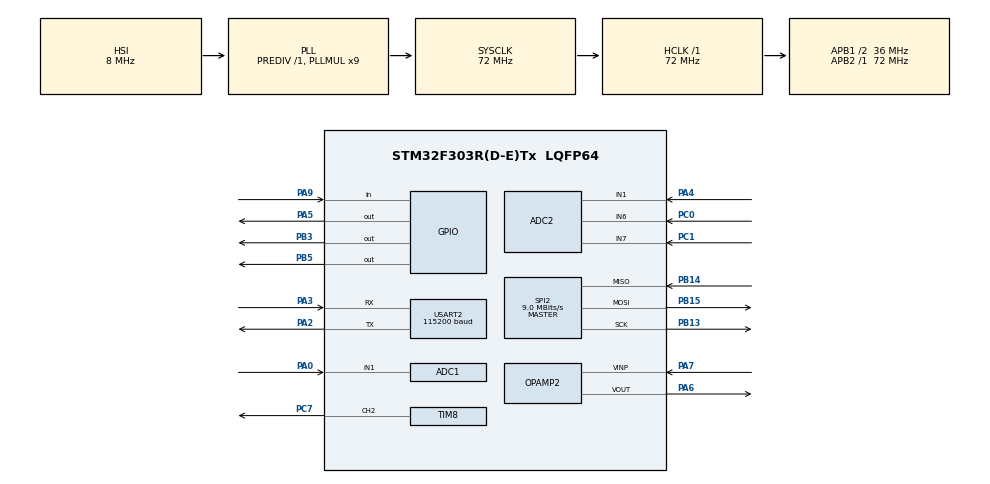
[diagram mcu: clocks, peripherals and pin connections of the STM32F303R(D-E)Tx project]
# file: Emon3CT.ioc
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ADC1.Channel-8\#ChannelRegularConversion=ADC_CHANNEL_1
ADC1.ClockPrescaler=ADC_CLOCK_SYNC_PCLK_DIV2
ADC1.ContinuousConvMode=ENABLE
ADC1.DMAContinuousRequests=ENABLE
ADC1.DataAlign=ADC_DATAALIGN_RIGHT
ADC1.DiscontinuousConvMode=DISABLE
ADC1.EOCSelection=ADC_EOC_SEQ_CONV
ADC1.EnableAnalogWatchDog1=false
ADC1.EnableAnalogWatchDog2=false
ADC1.EnableAnalogWatchDog3=false
ADC1.EnableInjectedConversion=ENABLE
ADC1.EnableRegularConversion=ENABLE
ADC1.ExternalTrigConv=ADC_EXTERNALTRIGCONV_T8_TRGO2
ADC1.ExternalTrigConvEdge=ADC_EXTERNALTRIGCONVEDGE_RISING
ADC1.InjNumberOfConversion=0
ADC1.LowPowerAutoWait=DISABLE
ADC1.NbrOfConversion=1
ADC1.NbrOfConversionFlag=1
ADC1.Offset-8\#ChannelRegularConversion=0
ADC1.OffsetNumber-8\#ChannelRegularConversion=ADC_OFFSET_NONE
ADC1.Overrun=ADC_OVR_DATA_OVERWRITTEN
ADC1.Rank-8\#ChannelRegularConversion=1
ADC1.Resolution=ADC_RESOLUTION_12B
ADC1.SamplingTime-8\#ChannelRegularConversion=ADC_SAMPLETIME_601CYCLES_5
ADC1.ScanConvMode=ADC_SCAN_DISABLE
ADC1.master=1
ADC2.Channel-0\#ChannelRegularConversion=ADC_CHANNEL_1
ADC2.Channel-1\#ChannelRegularConversion=ADC_CHANNEL_6
ADC2.Channel-2\#ChannelRegularConversion=ADC_CHANNEL_7
ADC2.ClockPrescaler=ADC_CLOCK_SYNC_PCLK_DIV2
ADC2.ContinuousConvMode=ENABLE
ADC2.DMAContinuousRequests=ENABLE
ADC2.EOCSelection=ADC_EOC_SEQ_CONV
ADC2.ExternalTrigConv=ADC_EXTERNALTRIGCONV_T8_TRGO2
ADC2.NbrOfConversion=3
ADC2.NbrOfConversionFlag=1
ADC2.Offset-0\#ChannelRegularConversion=0
ADC2.Offset-1\#ChannelRegularConversion=0
ADC2.Offset-2\#ChannelRegularConversion=0
ADC2.OffsetNumber-0\#ChannelRegularConversion=ADC_OFFSET_NONE
ADC2.OffsetNumber-1\#ChannelRegularConversion=ADC_OFFSET_NONE
ADC2.OffsetNumber-2\#ChannelRegularConversion=ADC_OFFSET_NONE
ADC2.Rank-0\#ChannelRegularConversion=1
ADC2.Rank-1\#ChannelRegularConversion=2
ADC2.Rank-2\#ChannelRegularConversion=3
ADC2.SamplingTime-0\#ChannelRegularConversion=ADC_SAMPLETIME_601CYCLES_5
ADC2.SamplingTime-1\#ChannelRegularConversion=ADC_SAMPLETIME_601CYCLES_5
ADC2.SamplingTime-2\#ChannelRegularConversion=ADC_SAMPLETIME_601CYCLES_5
Dma.ADC1.0.Direction=DMA_PERIPH_TO_MEMORY
Dma.ADC1.0.Instance=DMA1_Channel1
Dma.ADC1.0.MemDataAlignment=DMA_MDATAALIGN_HALFWORD
Dma.ADC1.0.MemInc=DMA_MINC_ENABLE
Dma.ADC1.0.Mode=DMA_CIRCULAR
Dma.ADC1.0.PeriphDataAlignment=DMA_PDATAALIGN_HALFWORD
Dma.ADC1.0.PeriphInc=DMA_PINC_DISABLE
Dma.ADC1.0.Priority=DMA_PRIORITY_HIGH
Dma.ADC2.1.Direction=DMA_PERIPH_TO_MEMORY
Dma.ADC2.1.Instance=DMA2_Channel1
Dma.ADC2.1.MemDataAlignment=DMA_MDATAALIGN_HALFWORD
Dma.ADC2.1.MemInc=DMA_MINC_ENABLE
Dma.ADC2.1.Mode=DMA_CIRCULAR
Dma.ADC2.1.PeriphDataAlignment=DMA_PDATAALIGN_HALFWORD
Dma.ADC2.1.PeriphInc=DMA_PINC_DISABLE
Dma.ADC2.1.Priority=DMA_PRIORITY_HIGH
Dma.Request0=ADC1
Dma.Request1=ADC2
Mcu.Family=STM32F3
Mcu.Name=STM32F303R(D-E)Tx
Mcu.Package=LQFP64
NVIC.DMA1_Channel1_IRQn=true\:1\:0\:true\:false\:true\:false
NVIC.DMA2_Channel1_IRQn=true\:1\:0\:true\:false\:true\:false
NVIC.PriorityGroup=NVIC_PRIORITYGROUP_4
PA0.Mode=IN1-Single-Ended
PA0.Signal=ADC1_IN1
PA2.Mode=Asynchronous
PA2.Signal=USART2_TX
PA3.Mode=Asynchronous
PA3.Signal=USART2_RX
PA4.Mode=IN1-Single-Ended
PA4.Signal=ADC2_IN1
PA5.Signal=GPIO_Output
PA6.Mode=Follower
PA6.Signal=OPAMP2_VOUT
PA7.Mode=Follower
PA7.Signal=OPAMP2_VINP
PA9.Signal=GPIO_Input
PB13.Mode=Full_Duplex_Master
PB13.Signal=SPI2_SCK
PB14.Mode=Full_Duplex_Master
PB14.Signal=SPI2_MISO
PB15.Mode=Full_Duplex_Master
PB15.Signal=SPI2_MOSI
PB3.Signal=GPIO_Output
PB5.Signal=GPIO_Output
PC0.Signal=ADCx_IN6
PC1.Signal=ADCx_IN7
PC7.Signal=S_TIM8_CH2
ProjectManager.HeapSize=0x200
ProjectManager.StackSize=0x400
ProjectManager.TargetToolchain=Makefile
RCC.AHBFreq_Value=72000000
RCC.APB1CLKDivider=RCC_HCLK_DIV2
RCC.APB1Freq_Value=36000000
RCC.APB1TimFreq_Value=72000000
RCC.APB2Freq_Value=72000000
RCC.APB2TimFreq_Value=72000000
RCC.CortexFreq_Value=72000000
RCC.HCLKFreq_Value=72000000
RCC.HSE_VALUE=8000000
RCC.HSI_VALUE=8000000
RCC.LSE_VALUE=32768
RCC.PLLMUL=RCC_PLL_MUL9
RCC.SYSCLKFreq_VALUE=72000000
RCC.SYSCLKSourceVirtual=RCC_SYSCLKSOURCE_PLLCLK
RCC.USBFreq_Value=72000000
SH.ADCx_IN6.0=ADC2_IN6,IN6-Single-Ended
SH.ADCx_IN7.0=ADC2_IN7,IN7-Single-Ended
SH.S_TIM8_CH2.0=TIM8_CH2,PWM Generation2 CH2
SPI2.BaudRatePrescaler=SPI_BAUDRATEPRESCALER_4
SPI2.CalculateBaudRate=9.0 MBits/s
SPI2.DataSize=SPI_DATASIZE_8BIT
SPI2.Direction=SPI_DIRECTION_2LINES
SPI2.Mode=SPI_MODE_MASTER
SPI2.VirtualType=VM_MASTER
TIM8.Channel-PWM\ Generation2\ CH2=TIM_CHANNEL_2
TIM8.Period=9999
TIM8.Prescaler=71
TIM8.TIM_MasterOutputTrigger2=TIM_TRGO2_OC2REF
USART2.BaudRate=115200
USART2.VirtualMode-Asynchronous=VM_ASYNC
USART2.WordLength=WORDLENGTH_8B
board=Emon3CT

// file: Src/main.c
/**
  ******************************************************************************
  * @file           : main.c
  * @brief          : Main program body
  ******************************************************************************
  ** This notice applies to any and all portions of this file
  * that are not between comment pairs USER CODE BEGIN and
  * USER CODE END. Other portions of this file, whether
  * inserted by the user or by software development tools
  * are owned by their respective copyright owners.
  *
  * COPYRIGHT(c) 2019 STMicroelectronics
  *
  * Redistribution and use in source and binary forms, with or without modification,
  * are permitted provided that the following conditions are met:
  *   1. Redistributions of source code must retain the above copyright notice,
  *      this list of conditions and the following disclaimer.
  *   2. Redistributions in binary form must reproduce the above copyright notice,
  *      this list of conditions and the following disclaimer in the documentation
  *      and/or other materials provided with the distribution.
  *   3. Neither the name of STMicroelectronics nor the names of its contributors
  *      may be used to endorse or promote products derived from this software
  *      without specific prior written permission.
  *
  * THIS SOFTWARE IS PROVIDED BY THE COPYRIGHT HOLDERS AND CONTRIBUTORS "AS IS"
  * AND ANY EXPRESS OR IMPLIED WARRANTIES, INCLUDING, BUT NOT LIMITED TO, THE
  * IMPLIED WARRANTIES OF MERCHANTABILITY AND FITNESS FOR A PARTICULAR PURPOSE ARE
  * DISCLAIMED. IN NO EVENT SHALL THE COPYRIGHT HOLDER OR CONTRIBUTORS BE LIABLE
  * FOR ANY DIRECT, INDIRECT, INCIDENTAL, SPECIAL, EXEMPLARY, OR CONSEQUENTIAL
  * DAMAGES (INCLUDING, BUT NOT LIMITED TO, PROCUREMENT OF SUBSTITUTE GOODS OR
  * SERVICES; LOSS OF USE, DATA, OR PROFITS; OR BUSINESS INTERRUPTION) HOWEVER
  * CAUSED AND ON ANY THEORY OF LIABILITY, WHETHER IN CONTRACT, STRICT LIABILITY,
  * OR TORT (INCLUDING NEGLIGENCE OR OTHERWISE) ARISING IN ANY WAY OUT OF THE USE
  * OF THIS SOFTWARE, EVEN IF ADVISED OF THE POSSIBILITY OF SUCH DAMAGE.
  *
  ******************************************************************************
  */
#include "main.h"
#include "stm32f3xx_hal.h"
#include "adc.h"
#include "dma.h"
#include "opamp.h"
#include "spi.h"
#include "tim.h"
#include "usart.h"
#include "gpio.h"

/* USER CODE BEGIN Includes */
#include <string.h>
#include <math.h>
#include "RFM69.h"
#include "RFM69_ext.h"
/* USER CODE END Includes */

/* USER CODE BEGIN PV */
/* Private variables ---------------------------------------------------------*/

#define true 1
#define false 0
#define MID_ADC_READING 2048

// Serial output buffer
char log_buffer[100];

// Flag
int8_t readings_ready = false;

// Calibration
double VCAL = 268.97;
double ICAL = 20.0;

// ISR accumulators
typedef struct channel_
{
  int64_t sum_P;
  uint64_t sum_V_sq;
  uint64_t sum_I_sq;
  int64_t sum_V;
  int64_t sum_I;
  uint64_t count;

  uint8_t positive_V;
  uint8_t last_positive_V;
  uint8_t cycles;
} channel_t;

static channel_t channels[3];
static channel_t channels_copy[3];

uint16_t networkID = 210; // a.k.a. Network Group
uint8_t nodeID = 1;
uint16_t freqBand = 433;
/* available frequency bands
  #define RF69_315MHZ            315
  #define RF69_433MHZ            433
  #define RF69_868MHZ            868
  #define RF69_915MHZ            915
  see registers.h for even more.
  */

/* USER CODE END PV */

void SystemClock_Config(void);

/* USER CODE BEGIN PFP */
/* Private function prototypes -----------------------------------------------*/

/* USER CODE END PFP */

/* USER CODE BEGIN 0 */
void process_frame(uint16_t offset)
{
  int32_t sample_V, sample_I, signed_V, signed_I;

  HAL_GPIO_WritePin(GPIOB, GPIO_PIN_5, GPIO_PIN_SET);
  for (int i = 0; i < 3000; i += 3)
  {
    // Cycle through channels
    for (int n = 0; n < 3; n++)
    {
      channel_t *channel = &channels[n];

      // ----------------------------------------
      // Voltage
      sample_V = adc1_dma_buff[offset + i + n];
      signed_V = sample_V - MID_ADC_READING;
      channel->sum_V += signed_V;
      channel->sum_V_sq += signed_V * signed_V;
      // ----------------------------------------
      // Current
      sample_I = adc2_dma_buff[offset + i + n];
      signed_I = sample_I - MID_ADC_READING;
      channel->sum_I += signed_I;
      channel->sum_I_sq += signed_I * signed_I;
      // ----------------------------------------
      // Power
      channel->sum_P += signed_V * signed_I;

      channel->count++;

      // Zero crossing detection
      channel->last_positive_V = channel->positive_V;
      if (signed_V > 0)
        channel->positive_V = true;
      else
        channel->positive_V = false;
      if (!channel->last_positive_V && channel->positive_V)
        channel->cycles++;

      // 125 cycles or 2.5 seconds
      if (channel->cycles >= 125)
      {
        channel->cycles = 0;

        channel_t *channel_copy = &channels_copy[n];
        // Copy accumulators for use in main loop
        memcpy((void *)channel_copy, (void *)channel, sizeof(channel_t));
        // Reset accumulators to zero ready for next set of measurements
        memset((void *)channel, 0, sizeof(channel_t));

        if (n == 2)
        {
          readings_ready = true;
        }
      }
    }
  }
  HAL_GPIO_WritePin(GPIOB, GPIO_PIN_5, GPIO_PIN_RESET);
}
/*

/* USER CODE END 0 */

int main(void)
{

  /* MCU Configuration----------------------------------------------------------*/

  /* Reset of all peripherals, Initializes the Flash interface and the Systick. */
  HAL_Init();

  /* USER CODE BEGIN Init */
  double V_RATIO = VCAL * (3.3 / 4096.0);
  double I_RATIO = ICAL * (3.3 / 4096.0);
  /* USER CODE END Init */

  /* Configure the system clock */
  SystemClock_Config();

  /* Initialize all configured peripherals */
  MX_GPIO_Init();
  MX_DMA_Init();
  MX_USART2_UART_Init();
  MX_ADC1_Init();
  MX_ADC2_Init();
  MX_TIM8_Init();
  MX_OPAMP2_Init();
  MX_SPI2_Init();
  /* USER CODE BEGIN 2 */

  HAL_OPAMP_Start(&hopamp2);

  sprintf(log_buffer, "CH\tVrms\tIrms\tRP\tAP\tPF\tCount\r\n");
  debug_printf(log_buffer);

  start_ADCs();

  // RFM init
  HAL_Delay(10);
  RFM69_RST();
  HAL_Delay(10);
  if (RFM69_initialize(freqBand, nodeID, networkID))
  {
    sprintf(log_buffer, "RFM69 Initialized. Freq %dMHz. Node %d. Group %d.\r\n", freqBand, nodeID, networkID);
    debug_printf(log_buffer);
  }
  else
  {
    debug_printf("RFM69 not connected.\r\n");
  }
  //RFM69_readAllRegs();

  /* USER CODE END 2 */

  /* Infinite loop */
  /* USER CODE BEGIN WHILE */
  while (1)
  {
    if (readings_ready)
    {
      readings_ready = false;

      for (int n = 0; n < 3; n++)
      {
        channel_t *chn = &channels_copy[n];

        double Vmean = chn->sum_V * (1.0 / chn->count);
        double Imean = chn->sum_I * (1.0 / chn->count);

        chn->sum_V_sq *= (1.0 / chn->count);
        chn->sum_V_sq -= (Vmean * Vmean);
        double Vrms = V_RATIO * sqrt((double)chn->sum_V_sq);

        chn->sum_I_sq *= (1.0 / chn->count);
        chn->sum_I_sq -= (Imean * Imean);
        double Irms = I_RATIO * sqrt((double)chn->sum_I_sq);

        double mean_P = (chn->sum_P * (1.0 / chn->count)) - (Vmean * Imean);
        double realPower = V_RATIO * I_RATIO * mean_P;

        double apparentPower = Vrms * Irms;
        double powerFactor = realPower / apparentPower;

        sprintf(log_buffer, "CH:%d\t%.2f\t%.3f\t%.1f\t%.1f\t%.3f\t%d\r\n", n, Vrms, Irms, realPower, apparentPower, powerFactor, chn->count);
        debug_printf(log_buffer);
      }

      sprintf(log_buffer, "\r\n");
      debug_printf(log_buffer);
    }
  }
  /* USER CODE END WHILE */

}

void SystemClock_Config(void)
{

  RCC_OscInitTypeDef RCC_OscInitStruct;
  RCC_ClkInitTypeDef RCC_ClkInitStruct;
  RCC_PeriphCLKInitTypeDef PeriphClkInit;

  /**Initializes the CPU, AHB and APB busses clocks
    */
  RCC_OscInitStruct.OscillatorType = RCC_OSCILLATORTYPE_HSI;
  RCC_OscInitStruct.HSIState = RCC_HSI_ON;
  RCC_OscInitStruct.HSICalibrationValue = 16;
  RCC_OscInitStruct.PLL.PLLState = RCC_PLL_ON;
  RCC_OscInitStruct.PLL.PLLSource = RCC_PLLSOURCE_HSI;
  RCC_OscInitStruct.PLL.PLLMUL = RCC_PLL_MUL9;
  RCC_OscInitStruct.PLL.PREDIV = RCC_PREDIV_DIV1;
  if (HAL_RCC_OscConfig(&RCC_OscInitStruct) != HAL_OK)
  {
    _Error_Handler(__FILE__, __LINE__);
  }

  /**Initializes the CPU, AHB and APB busses clocks
    */
  RCC_ClkInitStruct.ClockType = RCC_CLOCKTYPE_HCLK | RCC_CLOCKTYPE_SYSCLK | RCC_CLOCKTYPE_PCLK1 | RCC_CLOCKTYPE_PCLK2;
  RCC_ClkInitStruct.SYSCLKSource = RCC_SYSCLKSOURCE_PLLCLK;
  RCC_ClkInitStruct.AHBCLKDivider = RCC_SYSCLK_DIV1;
  RCC_ClkInitStruct.APB1CLKDivider = RCC_HCLK_DIV2;
  RCC_ClkInitStruct.APB2CLKDivider = RCC_HCLK_DIV1;

  if (HAL_RCC_ClockConfig(&RCC_ClkInitStruct, FLASH_LATENCY_2) != HAL_OK)
  {
    _Error_Handler(__FILE__, __LINE__);
  }

  PeriphClkInit.PeriphClockSelection = RCC_PERIPHCLK_USART2 | RCC_PERIPHCLK_TIM8;
  PeriphClkInit.Usart2ClockSelection = RCC_USART2CLKSOURCE_PCLK1;
  PeriphClkInit.Tim8ClockSelection = RCC_TIM8CLK_HCLK;
  if (HAL_RCCEx_PeriphCLKConfig(&PeriphClkInit) != HAL_OK)
  {
    _Error_Handler(__FILE__, __LINE__);
  }

  /**Configure the Systick interrupt time
    */
  HAL_SYSTICK_Config(HAL_RCC_GetHCLKFreq() / 1000);

  /**Configure the Systick
    */
  HAL_SYSTICK_CLKSourceConfig(SYSTICK_CLKSOURCE_HCLK);

  /* SysTick_IRQn interrupt configuration */
  HAL_NVIC_SetPriority(SysTick_IRQn, 0, 0);
}

void _Error_Handler(char *file, int line)
{
  while (1)
  {
  }
}

/************************ (C) COPYRIGHT STMicroelectronics *****END OF FILE****/
